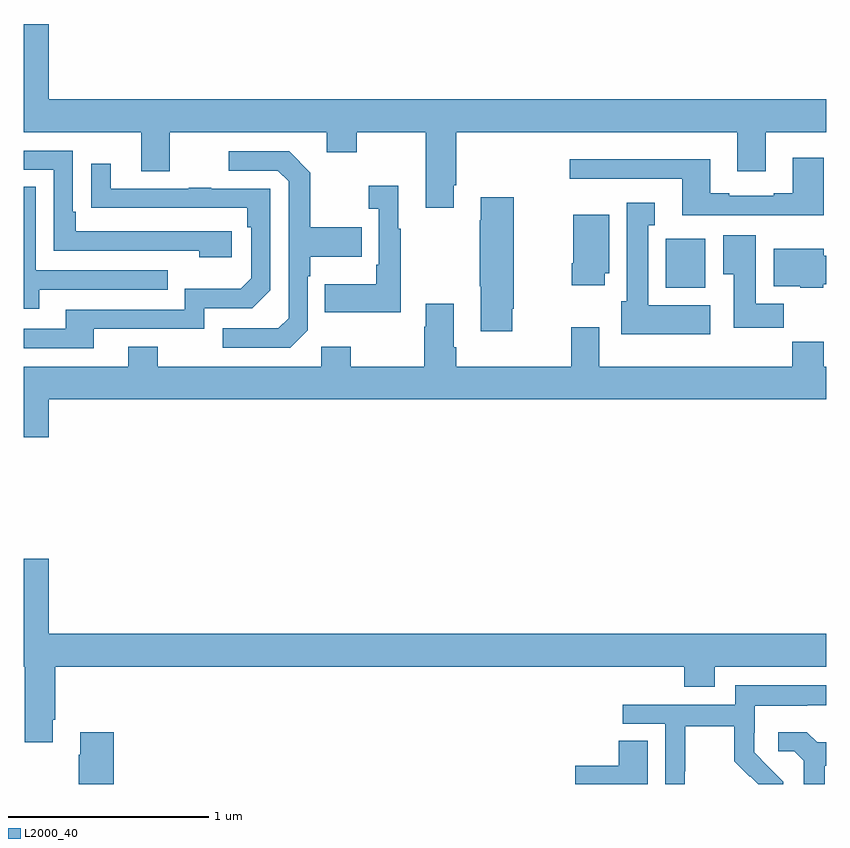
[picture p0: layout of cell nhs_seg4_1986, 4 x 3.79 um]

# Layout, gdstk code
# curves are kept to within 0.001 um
import gdstk
lib = gdstk.Library(unit=1e-6, precision=1e-09)
def R(c, l, rs):  # rectangles x0, y0, x1, y1
    for r in rs: c.add(gdstk.rectangle(r[:2], r[2:], *l))
def P(c, l, *ps):  # polygons
    for p in ps: c.add(gdstk.Polygon(p, *l))
L2000_40 = (2000, 40)

nhs_seg4_1986 = lib.new_cell('nhs_seg4_1986')
R(nhs_seg4_1986, L2000_40, [(216.2,801.374,216.397,801.616)])
P(nhs_seg4_1986, L2000_40, [(215.143,801.883),(215.156,801.883),(215.156,802.148),(216.557,802.148),(216.557,801.954),(216.697,801.954),(216.697,802.148),(217,802.148),(217,802.312),(213.124,802.312),(213.124,802.687),(213,802.687),(213,802.148),(213.587,802.148),(213.587,801.954),(213.727,801.954),(213.727,802.148),(214.511,802.148),(214.511,802.049),(214.659,802.049),(214.659,802.148),(215.003,802.148),(215.003,801.771),(215.143,801.771)],
  [(214.036,801.654),(213.259,801.654),(213.259,801.751),(213.246,801.751),(213.246,802.056),(213,802.056),(213,801.96),(213.15,801.96),(213.15,801.558),(213.875,801.558),(213.875,801.524),(214.036,801.524)],
  [(214.416,801.162),(214.416,801.431),(214.429,801.431),(214.429,801.527),(214.685,801.527),(214.685,801.675),(214.429,801.675),(214.429,801.947),(214.323,802.053),(214.023,802.053),(214.023,801.957),(214.266,801.957),(214.32,801.903),(214.32,801.222),(214.269,801.171),(213.993,801.171),(213.993,801.075),(214.329,801.075)],
  [(216.986,802.021),(216.833,802.021),(216.833,801.844),(216.737,801.844),(216.737,801.831),(216.517,801.831),(216.517,801.844),(216.421,801.844),(216.421,802.012),(215.721,802.012),(215.721,801.915),(216.281,801.915),(216.281,801.735),(216.741,801.735),(216.741,801.734),(216.986,801.734)],
  [(213.349,801.168),(213.9,801.168),(213.9,801.27),(214.14,801.27),(214.23,801.36),(214.23,801.867),(213.935,801.867),(213.935,801.872),(213.823,801.872),(213.823,801.867),(213.433,801.867),(213.433,801.991),(213.337,801.991),(213.337,801.772),(214.114,801.771),(214.114,801.674),(214.134,801.674),(214.134,801.42),(214.081,801.367),(213.804,801.367),(213.804,801.264),(213.209,801.264),(213.209,801.168),(213,801.168),(213,801.072),(213.349,801.072)],
  [(214.879,801.667),(214.867,801.667),(214.867,801.88),(214.719,801.88),(214.719,801.767),(214.77,801.767),(214.77,801.487),(214.758,801.487),(214.758,801.391),(214.501,801.391),(214.501,801.251),(214.879,801.251)],
  [(213.079,801.363),(213.719,801.363),(213.719,801.459),(213.06,801.459),(213.06,801.875),(213,801.875),(213,801.269),(213.079,801.269)],
  [(215.434,801.268),(215.442,801.268),(215.442,801.823),(215.279,801.823),(215.279,801.71),(215.272,801.71),(215.272,801.379),(215.279,801.379),(215.279,801.156),(215.434,801.156)],
  [(216.421,801.286),(216.112,801.286),(216.112,801.683),(216.145,801.683),(216.145,801.796),(216.005,801.796),(216.005,801.306),(215.978,801.306),(215.978,801.14),(216.421,801.14)],
  [(215.896,801.444),(215.917,801.444),(215.917,801.736),(215.738,801.736),(215.738,801.496),(215.731,801.496),(215.731,801.384),(215.896,801.384)],
  [(216.788,801.292),(216.649,801.292),(216.649,801.634),(216.485,801.634),(216.485,801.44),(216.539,801.44),(216.539,801.174),(216.788,801.174)],
  [(216.984,801.391),(217,801.391),(217,801.533),(216.988,801.533),(216.988,801.568),(216.737,801.568),(216.737,801.38),(216.87,801.38),(216.87,801.374),(216.984,801.374)],
  [(216.829,801.104),(216.829,800.98),(215.869,800.98),(215.869,801.175),(215.729,801.175),(215.729,800.98),(215.156,800.98),(215.156,801.076),(215.143,801.076),(215.143,801.292),(215.003,801.292),(215.003,801.179),(214.996,801.179),(214.996,800.98),(214.629,800.98),(214.629,801.079),(214.482,801.079),(214.482,800.98),(213.669,800.98),(213.669,801.079),(213.521,801.079),(213.521,800.98),(213,800.98),(213,800.628),(213.124,800.628),(213.124,800.816),(217,800.816),(217,800.98),(216.986,800.98),(216.986,801.104)],
  [(213.145,799.219),(213.158,799.219),(213.158,799.484),(216.293,799.484),(216.293,799.385),(216.445,799.385),(216.445,799.484),(217,799.484),(217,799.648),(213.124,799.648),(213.124,800.023),(213,800.023),(213,799.484),(213.005,799.484),(213.005,799.107),(213.145,799.107)],
  [(216.294,798.964),(216.297,798.964),(216.297,799.188),(216.541,799.188),(216.541,799.013),(216.618,798.936),(216.621,798.939),(216.661,798.9),(216.786,798.9),(216.786,798.91),(216.64,799.058),(216.64,799.155),(216.642,799.155),(216.642,799.289),(216.905,799.289),(216.905,799.293),(217,799.293),(217,799.393),(216.546,799.393),(216.546,799.296),(215.985,799.296),(215.985,799.2),(216.198,799.2),(216.198,798.9),(216.294,798.9)],
  [(213.449,799.159),(213.281,799.159),(213.281,799.046),(213.274,799.046),(213.274,798.9),(213.449,798.9)],
  [(216.991,798.992),(217,798.992),(217,799.107),(216.954,799.107),(216.902,799.159),(216.759,799.159),(216.759,799.062),(216.84,799.062),(216.887,799.015),(216.887,798.9),(216.991,798.9)],
  [(216.109,799.115),(215.966,799.115),(215.966,798.992),(215.748,798.992),(215.748,798.9),(216.109,798.9)])

lib.write_gds('nhs_seg4_1986.gds')
